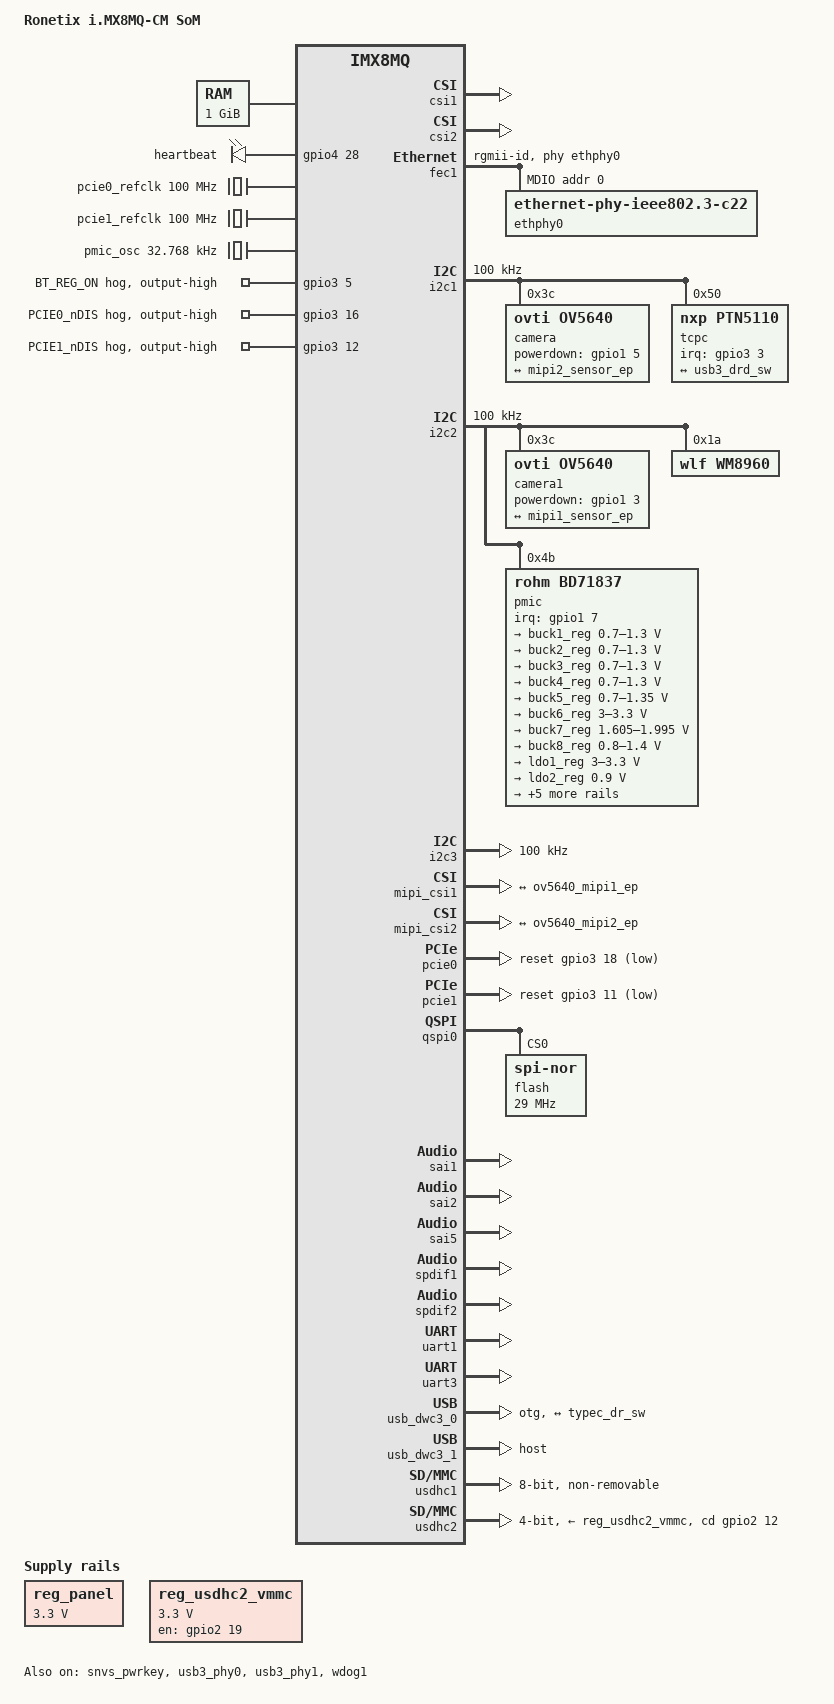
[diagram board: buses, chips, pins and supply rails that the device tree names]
// SPDX-License-Identifier: (GPL-2.0 OR MIT)
/*
 * Copyright 2017 NXP
 * Copyright (C) 2020-2026 Ronetix GmbH, Ilko Iliev <iliev@ronetix.at>
 *
 * Ronetix i.MX8MQ-CM SoM
 */

#include <dt-bindings/leds/common.h>
#include <dt-bindings/usb/pd.h>
#include "imx8mq.dtsi"

/ {
	model = "Ronetix i.MX8MQ-CM SoM";
	compatible = "ronetix,imx8mq-cm", "fsl,imx8mq";

	chosen {
		stdout-path = &uart1;
	};

	memory@40000000 {
		device_type = "memory";
		reg = <0x00000000 0x40000000 0 0x40000000>;	/* 1 GiB */
	};

	reserved-memory {
		#address-cells = <2>;
		#size-cells = <2>;
		ranges;

		/* global autoconfigured region for contiguous allocations */
		linux,cma {
			compatible = "shared-dma-pool";
			reusable;
			size = <0 0x04000000>;	/* 64 MiB */
			alloc-ranges = <0 0x40000000 0 0x40000000>;
			linux,cma-default;
		};
	};

	backlight: backlight {
		compatible = "pwm-backlight";
		pinctrl-names = "default";
		pinctrl-0 = <&pinctrl_backlight>;
		enable-gpios = <&gpio1 3 GPIO_ACTIVE_HIGH>;
		pwms = <&pwm1 0 2500000 0>;	/* 400 Hz */
		brightness-levels = <0 100>;
		num-interpolated-steps = <100>;
		default-brightness-level = <80>;
		status = "disabled";
	};

	leds {
		compatible = "gpio-leds";
		pinctrl-names = "default";
		pinctrl-0 = <&pinctrl_gpio_leds>;

		led-0 {
			label = "heartbeat";
			function = LED_FUNCTION_HEARTBEAT;
			gpios = <&gpio4 28 GPIO_ACTIVE_HIGH>;
			default-state = "on";
			linux,default-trigger = "heartbeat";
		};
	};

	/* LVDS panel behind the SN65DSI83 DSI to LVDS bridge */
	panel: panel {
		compatible = "innolux,g101ice-l01";
		backlight = <&backlight>;
		power-supply = <&reg_panel>;
		status = "disabled";

		port {
			panel_in: endpoint {
				remote-endpoint = <&lvds_bridge_out>;
			};
		};
	};

	pcie0_refclk: clock-pcie0-ref {
		compatible = "fixed-clock";
		#clock-cells = <0>;
		clock-frequency = <100000000>;
	};

	pcie1_refclk: clock-pcie1-ref {
		compatible = "fixed-clock";
		#clock-cells = <0>;
		clock-frequency = <100000000>;
	};

	pmic_osc: clock-pmic {
		compatible = "fixed-clock";
		#clock-cells = <0>;
		clock-frequency = <32768>;
		clock-output-names = "pmic_osc";
	};

	reg_panel: regulator-panel {
		compatible = "regulator-fixed";
		regulator-name = "PANEL_VDD";
		regulator-min-microvolt = <3300000>;
		regulator-max-microvolt = <3300000>;
	};

	reg_usdhc2_vmmc: regulator-vsd-3v3 {
		compatible = "regulator-fixed";
		pinctrl-names = "default";
		pinctrl-0 = <&pinctrl_reg_usdhc2>;
		regulator-name = "VSD_3V3";
		regulator-min-microvolt = <3300000>;
		regulator-max-microvolt = <3300000>;
		gpio = <&gpio2 19 GPIO_ACTIVE_HIGH>;
		off-on-delay-us = <20000>;
		enable-active-high;
	};

	sound-wm8960 {
		compatible = "fsl,imx-audio-wm8960";
		model = "wm8960-audio";
		audio-cpu = <&sai2>;
		audio-codec = <&wm8960>;
		audio-routing =
			"Headphone Jack", "HP_L",
			"Headphone Jack", "HP_R",
			"Ext Spk", "SPK_LP",
			"Ext Spk", "SPK_LN",
			"Ext Spk", "SPK_RP",
			"Ext Spk", "SPK_RN",
			"LINPUT1", "Mic Jack",
			"Mic Jack", "MICB";
	};
};

&A53_0 {
	cpu-supply = <&buck2_reg>;
};

&A53_1 {
	cpu-supply = <&buck2_reg>;
};

&A53_2 {
	cpu-supply = <&buck2_reg>;
};

&A53_3 {
	cpu-supply = <&buck2_reg>;
};

&csi1 {
	status = "okay";
};

&csi2 {
	status = "okay";
};

&fec1 {
	pinctrl-names = "default";
	pinctrl-0 = <&pinctrl_fec1>;
	phy-mode = "rgmii-id";
	phy-handle = <&ethphy0>;
	fsl,magic-packet;
	status = "okay";

	mdio {
		#address-cells = <1>;
		#size-cells = <0>;

		/* AR8031 */
		ethphy0: ethernet-phy@0 {
			compatible = "ethernet-phy-ieee802.3-c22";
			reg = <0>;
			qca,disable-smarteee;
			eee-broken-100tx;
			eee-broken-1000t;
		};
	};
};

&i2c1 {
	clock-frequency = <100000>;
	pinctrl-names = "default";
	pinctrl-0 = <&pinctrl_i2c1>;
	status = "okay";

	/* camera on MIPI-CSI2 */
	camera@3c {
		compatible = "ovti,ov5640";
		reg = <0x3c>;
		pinctrl-names = "default";
		pinctrl-0 = <&pinctrl_csi2_pwn>, <&pinctrl_csi_rst>;
		clocks = <&clk IMX8MQ_CLK_CLKO2>;
		clock-names = "xclk";
		assigned-clocks = <&clk IMX8MQ_CLK_CLKO2>;
		assigned-clock-parents = <&clk IMX8MQ_SYS2_PLL_200M>;
		assigned-clock-rates = <20000000>;
		powerdown-gpios = <&gpio1 5 GPIO_ACTIVE_HIGH>;

		port {
			ov5640_mipi2_ep: endpoint {
				remote-endpoint = <&mipi2_sensor_ep>;
				clock-lanes = <0>;
				data-lanes = <1 2>;
			};
		};
	};

	tcpc@50 {
		compatible = "nxp,ptn5110", "tcpci";
		reg = <0x50>;
		pinctrl-names = "default";
		pinctrl-0 = <&pinctrl_typec>;
		interrupt-parent = <&gpio3>;
		interrupts = <3 IRQ_TYPE_LEVEL_LOW>;

		connector {
			compatible = "usb-c-connector";
			label = "USB-C";
			power-role = "dual";
			data-role = "dual";
			try-power-role = "sink";
			source-pdos = <PDO_FIXED(5000, 3000, PDO_FIXED_USB_COMM)>;
			sink-pdos = <PDO_FIXED(5000, 3000, PDO_FIXED_USB_COMM)
				     PDO_VAR(5000, 20000, 3000)>;
			op-sink-microwatt = <15000000>;
			self-powered;

			port {
				typec_dr_sw: endpoint {
					remote-endpoint = <&usb3_drd_sw>;
				};
			};
		};
	};
};

&i2c2 {
	clock-frequency = <100000>;
	pinctrl-names = "default";
	pinctrl-0 = <&pinctrl_i2c2>;
	status = "okay";

	dsi_lvds_bridge: bridge@2c {
		compatible = "ti,sn65dsi83";
		reg = <0x2c>;
		pinctrl-names = "default";
		pinctrl-0 = <&pinctrl_lvds>;
		/* chip enable, not connected in PCB v2.0 */
		enable-gpios = <&gpio3 10 GPIO_ACTIVE_HIGH>;
		status = "disabled";

		ports {
			#address-cells = <1>;
			#size-cells = <0>;

			port@0 {
				reg = <0>;

				lvds_bridge_in: endpoint {
					data-lanes = <1 2>;
					remote-endpoint = <&mipi_dsi_out>;
				};
			};

			port@2 {
				reg = <2>;

				lvds_bridge_out: endpoint {
					remote-endpoint = <&panel_in>;
				};
			};
		};
	};

	/* camera on MIPI-CSI1 */
	camera1: camera@3c {
		compatible = "ovti,ov5640";
		reg = <0x3c>;
		pinctrl-names = "default";
		pinctrl-0 = <&pinctrl_csi1_pwn>;
		clocks = <&clk IMX8MQ_CLK_CLKO2>;
		clock-names = "xclk";
		assigned-clocks = <&clk IMX8MQ_CLK_CLKO2>;
		assigned-clock-parents = <&clk IMX8MQ_SYS2_PLL_200M>;
		assigned-clock-rates = <20000000>;
		powerdown-gpios = <&gpio1 3 GPIO_ACTIVE_HIGH>;

		port {
			ov5640_mipi1_ep: endpoint {
				remote-endpoint = <&mipi1_sensor_ep>;
				clock-lanes = <0>;
				data-lanes = <1 2>;
			};
		};
	};

	wm8960: audio-codec@1a {
		compatible = "wlf,wm8960";
		reg = <0x1a>;
		#sound-dai-cells = <0>;
		clocks = <&clk IMX8MQ_CLK_SAI2_ROOT>;
		clock-names = "mclk";
		wlf,shared-lrclk;
	};

	pmic@4b {
		compatible = "rohm,bd71837";
		reg = <0x4b>;
		pinctrl-names = "default";
		pinctrl-0 = <&pinctrl_pmic>;
		clocks = <&pmic_osc>;
		#clock-cells = <0>;
		clock-output-names = "pmic_clk";
		interrupt-parent = <&gpio1>;
		interrupts = <7 IRQ_TYPE_LEVEL_LOW>;
		rohm,reset-snvs-powered;
		rohm,short-press-ms = <500>;
		rohm,long-press-ms = <3000>;

		regulators {
			buck1_reg: BUCK1 {
				regulator-name = "buck1";
				regulator-min-microvolt = <700000>;
				regulator-max-microvolt = <1300000>;
				regulator-boot-on;
				regulator-always-on;
				regulator-ramp-delay = <1250>;
				rohm,dvs-run-voltage = <900000>;
				rohm,dvs-idle-voltage = <850000>;
				rohm,dvs-suspend-voltage = <800000>;
			};

			buck2_reg: BUCK2 {
				regulator-name = "buck2";
				regulator-min-microvolt = <700000>;
				regulator-max-microvolt = <1300000>;
				regulator-boot-on;
				regulator-always-on;
				regulator-ramp-delay = <1250>;
				rohm,dvs-run-voltage = <1000000>;
				rohm,dvs-idle-voltage = <900000>;
			};

			buck3_reg: BUCK3 {
				regulator-name = "buck3";
				regulator-min-microvolt = <700000>;
				regulator-max-microvolt = <1300000>;
				regulator-boot-on;
				regulator-always-on;
				rohm,dvs-run-voltage = <1000000>;
			};

			buck4_reg: BUCK4 {
				regulator-name = "buck4";
				regulator-min-microvolt = <700000>;
				regulator-max-microvolt = <1300000>;
				regulator-boot-on;
				regulator-always-on;
				rohm,dvs-run-voltage = <1000000>;
			};

			buck5_reg: BUCK5 {
				regulator-name = "buck5";
				regulator-min-microvolt = <700000>;
				regulator-max-microvolt = <1350000>;
				regulator-boot-on;
				regulator-always-on;
			};

			buck6_reg: BUCK6 {
				regulator-name = "buck6";
				regulator-min-microvolt = <3000000>;
				regulator-max-microvolt = <3300000>;
				regulator-boot-on;
				regulator-always-on;
			};

			buck7_reg: BUCK7 {
				regulator-name = "buck7";
				regulator-min-microvolt = <1605000>;
				regulator-max-microvolt = <1995000>;
				regulator-boot-on;
				regulator-always-on;
			};

			buck8_reg: BUCK8 {
				regulator-name = "buck8";
				regulator-min-microvolt = <800000>;
				regulator-max-microvolt = <1400000>;
				regulator-boot-on;
				regulator-always-on;
			};

			ldo1_reg: LDO1 {
				regulator-name = "ldo1";
				regulator-min-microvolt = <3000000>;
				regulator-max-microvolt = <3300000>;
				regulator-boot-on;
				regulator-always-on;
			};

			ldo2_reg: LDO2 {
				regulator-name = "ldo2";
				regulator-min-microvolt = <900000>;
				regulator-max-microvolt = <900000>;
				regulator-boot-on;
				regulator-always-on;
			};

			ldo3_reg: LDO3 {
				regulator-name = "ldo3";
				regulator-min-microvolt = <1800000>;
				regulator-max-microvolt = <3300000>;
				regulator-boot-on;
				regulator-always-on;
			};

			ldo4_reg: LDO4 {
				regulator-name = "ldo4";
				regulator-min-microvolt = <900000>;
				regulator-max-microvolt = <1800000>;
				regulator-boot-on;
				regulator-always-on;
			};

			ldo5_reg: LDO5 {
				regulator-name = "ldo5";
				regulator-min-microvolt = <1800000>;
				regulator-max-microvolt = <3300000>;
				regulator-boot-on;
				regulator-always-on;
			};

			ldo6_reg: LDO6 {
				regulator-name = "ldo6";
				regulator-min-microvolt = <900000>;
				regulator-max-microvolt = <1800000>;
				regulator-boot-on;
				regulator-always-on;
			};

			ldo7_reg: LDO7 {
				regulator-name = "ldo7";
				regulator-min-microvolt = <1800000>;
				regulator-max-microvolt = <3300000>;
				regulator-boot-on;
				regulator-always-on;
			};
		};
	};
};

&i2c3 {
	clock-frequency = <100000>;
	pinctrl-names = "default";
	pinctrl-0 = <&pinctrl_i2c3>;
	status = "okay";
};

&mipi_csi1 {
	status = "okay";

	ports {
		port@0 {
			reg = <0>;

			mipi1_sensor_ep: endpoint {
				remote-endpoint = <&ov5640_mipi1_ep>;
				data-lanes = <1 2>;
			};
		};
	};
};

&mipi_csi2 {
	status = "okay";

	ports {
		port@0 {
			reg = <0>;

			mipi2_sensor_ep: endpoint {
				remote-endpoint = <&ov5640_mipi2_ep>;
				data-lanes = <1 2>;
			};
		};
	};
};

&mipi_dsi_out {
	remote-endpoint = <&lvds_bridge_in>;
};

&pcie0 {
	pinctrl-names = "default";
	pinctrl-0 = <&pinctrl_pcie0>;
	reset-gpio = <&gpio3 18 GPIO_ACTIVE_LOW>;
	clocks = <&clk IMX8MQ_CLK_PCIE1_ROOT>,
		 <&pcie0_refclk>,
		 <&clk IMX8MQ_CLK_PCIE1_PHY>,
		 <&clk IMX8MQ_CLK_PCIE1_AUX>;
	status = "okay";
};

&pcie1 {
	pinctrl-names = "default";
	pinctrl-0 = <&pinctrl_pcie1>;
	reset-gpio = <&gpio3 11 GPIO_ACTIVE_LOW>;
	clocks = <&clk IMX8MQ_CLK_PCIE2_ROOT>,
		 <&pcie1_refclk>,
		 <&clk IMX8MQ_CLK_PCIE2_PHY>,
		 <&clk IMX8MQ_CLK_PCIE2_AUX>;
	status = "okay";
};

&pgc_gpu {
	power-supply = <&buck3_reg>;
};

&pgc_vpu {
	power-supply = <&buck4_reg>;
};

&pwm1 {
	pinctrl-names = "default";
	pinctrl-0 = <&pinctrl_pwm1>;
	status = "disabled";
};

&qspi0 {
	pinctrl-names = "default";
	pinctrl-0 = <&pinctrl_qspi>;
	status = "okay";

	flash@0 {
		compatible = "jedec,spi-nor";
		reg = <0>;
		#address-cells = <1>;
		#size-cells = <1>;
		spi-max-frequency = <29000000>;
		spi-tx-bus-width = <1>;
		spi-rx-bus-width = <1>;
	};
};

&sai1 {
	pinctrl-names = "default";
	pinctrl-0 = <&pinctrl_sai1_pcm>;
	assigned-clocks = <&clk IMX8MQ_CLK_SAI1>;
	assigned-clock-parents = <&clk IMX8MQ_AUDIO_PLL1_OUT>;
	assigned-clock-rates = <49152000>;
	status = "okay";
};

&sai2 {
	pinctrl-names = "default";
	pinctrl-0 = <&pinctrl_sai2>;
	assigned-clocks = <&clk IMX8MQ_CLK_SAI2>;
	assigned-clock-parents = <&clk IMX8MQ_AUDIO_PLL1_OUT>;
	assigned-clock-rates = <24576000>;
	status = "okay";
};

&sai5 {
	pinctrl-names = "default";
	pinctrl-0 = <&pinctrl_sai5>;
	assigned-clocks = <&clk IMX8MQ_CLK_SAI5>;
	assigned-clock-parents = <&clk IMX8MQ_AUDIO_PLL1_OUT>;
	assigned-clock-rates = <49152000>;
	fsl,sai-asynchronous;
	status = "okay";
};

&snvs_pwrkey {
	status = "okay";
};

&spdif1 {
	pinctrl-names = "default";
	pinctrl-0 = <&pinctrl_spdif1>;
	assigned-clocks = <&clk IMX8MQ_CLK_SPDIF1>;
	assigned-clock-parents = <&clk IMX8MQ_AUDIO_PLL1_OUT>;
	assigned-clock-rates = <24576000>;
	status = "okay";
};

&spdif2 {
	assigned-clocks = <&clk IMX8MQ_CLK_SPDIF2>;
	assigned-clock-parents = <&clk IMX8MQ_AUDIO_PLL1_OUT>;
	assigned-clock-rates = <24576000>;
	status = "okay";
};

&uart1 { /* console */
	pinctrl-names = "default";
	pinctrl-0 = <&pinctrl_uart1>;
	assigned-clocks = <&clk IMX8MQ_CLK_UART1>;
	assigned-clock-parents = <&clk IMX8MQ_CLK_25M>;
	status = "okay";
};

&uart3 { /* Bluetooth */
	pinctrl-names = "default";
	pinctrl-0 = <&pinctrl_uart3>;
	assigned-clocks = <&clk IMX8MQ_CLK_UART3>;
	assigned-clock-parents = <&clk IMX8MQ_SYS1_PLL_80M>;
	uart-has-rtscts;
	status = "okay";
};

&usb3_phy0 {
	status = "okay";
};

&usb_dwc3_0 {
	dr_mode = "otg";
	hnp-disable;
	srp-disable;
	adp-disable;
	usb-role-switch;
	snps,dis-u1-entry-quirk;
	snps,dis-u2-entry-quirk;
	status = "okay";

	port {
		usb3_drd_sw: endpoint {
			remote-endpoint = <&typec_dr_sw>;
		};
	};
};

&usb3_phy1 {
	status = "okay";
};

&usb_dwc3_1 {
	dr_mode = "host";
	status = "okay";
};

/* eMMC */
&usdhc1 {
	pinctrl-names = "default", "state_100mhz", "state_200mhz";
	pinctrl-0 = <&pinctrl_usdhc1>;
	pinctrl-1 = <&pinctrl_usdhc1_100mhz>;
	pinctrl-2 = <&pinctrl_usdhc1_200mhz>;
	vqmmc-supply = <&buck7_reg>;
	bus-width = <8>;
	non-removable;
	no-sd;
	no-sdio;
	status = "okay";
};

/* SD card */
&usdhc2 {
	pinctrl-names = "default", "state_100mhz", "state_200mhz";
	pinctrl-0 = <&pinctrl_usdhc2>;
	pinctrl-1 = <&pinctrl_usdhc2_100mhz>;
	pinctrl-2 = <&pinctrl_usdhc2_200mhz>;
	cd-gpios = <&gpio2 12 GPIO_ACTIVE_HIGH>;
	bus-width = <4>;
	vmmc-supply = <&reg_usdhc2_vmmc>;
	status = "okay";
};

&wdog1 {
	pinctrl-names = "default";
	pinctrl-0 = <&pinctrl_wdog>;
	fsl,ext-reset-output;
	status = "okay";
};

&gpio3 {
	bt-reg-on-hog {
		gpio-hog;
		gpios = <5 GPIO_ACTIVE_HIGH>;
		output-high;
		line-name = "BT_REG_ON";
	};

	pcie0-ndis-hog {
		gpio-hog;
		gpios = <16 GPIO_ACTIVE_HIGH>;
		output-high;
		line-name = "PCIE0_nDIS";
	};

	pcie1-ndis-hog {
		gpio-hog;
		gpios = <12 GPIO_ACTIVE_HIGH>;
		output-high;
		line-name = "PCIE1_nDIS";
	};
};

&iomuxc {
	pinctrl-names = "default";
	pinctrl-0 = <&pinctrl_hog>;

	pinctrl_hog: hoggrp {
		fsl,pins = <
			MX8MQ_IOMUXC_GPIO1_IO00_ANAMIX_REF_CLK_32K	0x16
			MX8MQ_IOMUXC_NAND_CLE_GPIO3_IO5			0x19
		>;
	};

	pinctrl_backlight: backlightgrp {
		fsl,pins = <
			MX8MQ_IOMUXC_GPIO1_IO03_GPIO1_IO3		0x16	/* LCD_BL_EN */
		>;
	};

	pinctrl_csi1_pwn: csi1pwngrp {
		fsl,pins = <
			MX8MQ_IOMUXC_GPIO1_IO03_GPIO1_IO3		0x19
		>;
	};

	pinctrl_csi2_pwn: csi2pwngrp {
		fsl,pins = <
			MX8MQ_IOMUXC_GPIO1_IO05_GPIO1_IO5		0x19
		>;
	};

	pinctrl_csi_rst: csirstgrp {
		fsl,pins = <
			MX8MQ_IOMUXC_GPIO1_IO06_GPIO1_IO6		0x19
			MX8MQ_IOMUXC_GPIO1_IO15_CCMSRCGPCMIX_CLKO2	0x59
		>;
	};

	pinctrl_fec1: fec1grp {
		fsl,pins = <
			MX8MQ_IOMUXC_ENET_MDC_ENET1_MDC			0x3
			MX8MQ_IOMUXC_ENET_MDIO_ENET1_MDIO		0x23
			MX8MQ_IOMUXC_ENET_TD3_ENET1_RGMII_TD3		0x1f
			MX8MQ_IOMUXC_ENET_TD2_ENET1_RGMII_TD2		0x1f
			MX8MQ_IOMUXC_ENET_TD1_ENET1_RGMII_TD1		0x1f
			MX8MQ_IOMUXC_ENET_TD0_ENET1_RGMII_TD0		0x1f
			MX8MQ_IOMUXC_ENET_RD3_ENET1_RGMII_RD3		0x91
			MX8MQ_IOMUXC_ENET_RD2_ENET1_RGMII_RD2		0x91
			MX8MQ_IOMUXC_ENET_RD1_ENET1_RGMII_RD1		0x91
			MX8MQ_IOMUXC_ENET_RD0_ENET1_RGMII_RD0		0x91
			MX8MQ_IOMUXC_ENET_TXC_ENET1_RGMII_TXC		0x1f
			MX8MQ_IOMUXC_ENET_RXC_ENET1_RGMII_RXC		0x91
			MX8MQ_IOMUXC_ENET_RX_CTL_ENET1_RGMII_RX_CTL	0x91
			MX8MQ_IOMUXC_ENET_TX_CTL_ENET1_RGMII_TX_CTL	0x1f
			MX8MQ_IOMUXC_GPIO1_IO09_GPIO1_IO9		0x19
		>;
	};

	pinctrl_gpio_leds: gpioledsgrp {
		fsl,pins = <
			MX8MQ_IOMUXC_SAI3_RXFS_GPIO4_IO28		0x00000021	/* heartbeat LED */
		>;
	};

	pinctrl_i2c1: i2c1grp {
		fsl,pins = <
			MX8MQ_IOMUXC_I2C1_SCL_I2C1_SCL			0x4000007f
			MX8MQ_IOMUXC_I2C1_SDA_I2C1_SDA			0x4000007f
		>;
	};

	pinctrl_i2c2: i2c2grp {
		fsl,pins = <
			MX8MQ_IOMUXC_I2C2_SCL_I2C2_SCL			0x40000067
			MX8MQ_IOMUXC_I2C2_SDA_I2C2_SDA			0x40000067
		>;
	};

	pinctrl_i2c3: i2c3grp {
		fsl,pins = <
			MX8MQ_IOMUXC_I2C3_SCL_I2C3_SCL			0x4000007f
			MX8MQ_IOMUXC_I2C3_SDA_I2C3_SDA			0x4000007f
		>;
	};

	pinctrl_lvds: lvdsgrp {
		fsl,pins = <
			/* SN65DSI83 - chip enable, not connected in PCB v2.0 */
			MX8MQ_IOMUXC_NAND_DATA04_GPIO3_IO10		0x16
		>;
	};

	pinctrl_pcie0: pcie0grp {
		fsl,pins = <
			MX8MQ_IOMUXC_I2C4_SCL_PCIE1_CLKREQ_B		0x76
			MX8MQ_IOMUXC_NAND_READY_B_GPIO3_IO16		0x16	/* WiFi nDISABLE */
			MX8MQ_IOMUXC_NAND_WP_B_GPIO3_IO18		0x16	/* WiFi nRST */
		>;
	};

	pinctrl_pcie1: pcie1grp {
		fsl,pins = <
			MX8MQ_IOMUXC_I2C4_SDA_PCIE2_CLKREQ_B		0x76	/* open drain, pull up */
			MX8MQ_IOMUXC_NAND_DATA05_GPIO3_IO11		0x16	/* PCIe1 nRST */
			MX8MQ_IOMUXC_NAND_DATA06_GPIO3_IO12		0x16	/* PCIe1 nDIS */
		>;
	};

	pinctrl_pmic: pmicgrp {
		fsl,pins = <
			MX8MQ_IOMUXC_GPIO1_IO07_GPIO1_IO7		0x80	/* PMIC intr */
		>;
	};

	pinctrl_pwm1: pwm1grp {
		fsl,pins = <
			MX8MQ_IOMUXC_GPIO1_IO01_PWM1_OUT		0x06
		>;
	};

	pinctrl_qspi: qspigrp {
		fsl,pins = <
			MX8MQ_IOMUXC_NAND_ALE_QSPI_A_SCLK		0x82
			MX8MQ_IOMUXC_NAND_CE0_B_QSPI_A_SS0_B		0x82
			MX8MQ_IOMUXC_NAND_DATA00_QSPI_A_DATA0		0x82
			MX8MQ_IOMUXC_NAND_DATA01_QSPI_A_DATA1		0x82
			MX8MQ_IOMUXC_NAND_DATA02_QSPI_A_DATA2		0x82
			MX8MQ_IOMUXC_NAND_DATA03_QSPI_A_DATA3		0x82
		>;
	};

	pinctrl_reg_usdhc2: regusdhc2grp {
		fsl,pins = <
			MX8MQ_IOMUXC_SD2_RESET_B_GPIO2_IO19		0x41
		>;
	};

	pinctrl_sai1_pcm: sai1pcmgrp {
		fsl,pins = <
			MX8MQ_IOMUXC_SAI1_MCLK_SAI1_MCLK		0xd6
			MX8MQ_IOMUXC_SAI1_TXFS_SAI1_TX_SYNC		0xd6
			MX8MQ_IOMUXC_SAI1_RXD7_SAI1_TX_SYNC		0xd6
			MX8MQ_IOMUXC_SAI1_TXC_SAI1_TX_BCLK		0xd6
			MX8MQ_IOMUXC_SAI1_TXD0_SAI1_TX_DATA0		0xd6
			MX8MQ_IOMUXC_SAI1_TXD1_SAI1_TX_DATA1		0xd6
			MX8MQ_IOMUXC_SAI1_TXD2_SAI1_TX_DATA2		0xd6
			MX8MQ_IOMUXC_SAI1_TXD3_SAI1_TX_DATA3		0xd6
			MX8MQ_IOMUXC_SAI1_TXD4_SAI1_TX_DATA4		0xd6
			MX8MQ_IOMUXC_SAI1_TXD5_SAI1_TX_DATA5		0xd6
			MX8MQ_IOMUXC_SAI1_TXD6_SAI1_TX_DATA6		0xd6
			MX8MQ_IOMUXC_SAI1_TXD7_SAI1_TX_DATA7		0xd6
		>;
	};

	pinctrl_sai2: sai2grp {
		fsl,pins = <
			/* WM8960 */
			MX8MQ_IOMUXC_SAI2_TXFS_SAI2_TX_SYNC		0xd6
			MX8MQ_IOMUXC_SAI2_TXC_SAI2_TX_BCLK		0xd6
			MX8MQ_IOMUXC_SAI2_MCLK_SAI2_MCLK		0xd6
			MX8MQ_IOMUXC_SAI2_TXD0_SAI2_TX_DATA0		0xd6
			MX8MQ_IOMUXC_SAI2_RXD0_SAI2_RX_DATA0		0xd6
		>;
	};

	pinctrl_sai5: sai5grp {
		fsl,pins = <
			MX8MQ_IOMUXC_SAI5_MCLK_SAI5_MCLK		0xd6
			MX8MQ_IOMUXC_SAI5_RXC_SAI5_RX_BCLK		0xd6
			MX8MQ_IOMUXC_SAI5_RXFS_SAI5_RX_SYNC		0xd6
			MX8MQ_IOMUXC_SAI5_RXD0_SAI5_RX_DATA0		0xd6
			MX8MQ_IOMUXC_SAI5_RXD1_SAI5_RX_DATA1		0xd6
			MX8MQ_IOMUXC_SAI5_RXD2_SAI5_RX_DATA2		0xd6
			MX8MQ_IOMUXC_SAI5_RXD3_SAI5_RX_DATA3		0xd6
		>;
	};

	pinctrl_spdif1: spdif1grp {
		fsl,pins = <
			MX8MQ_IOMUXC_SPDIF_TX_SPDIF1_OUT		0xd6
			MX8MQ_IOMUXC_SPDIF_RX_SPDIF1_IN			0xd6
		>;
	};

	pinctrl_typec: typecgrp {
		fsl,pins = <
			MX8MQ_IOMUXC_NAND_CE2_B_GPIO3_IO3		0x17059
		>;
	};

	pinctrl_uart1: uart1grp {
		fsl,pins = <
			MX8MQ_IOMUXC_UART1_RXD_UART1_DCE_RX		0x49
			MX8MQ_IOMUXC_UART1_TXD_UART1_DCE_TX		0x49
		>;
	};

	pinctrl_uart3: uart3grp {
		fsl,pins = <
			MX8MQ_IOMUXC_UART3_TXD_UART3_DCE_TX		0x49
			MX8MQ_IOMUXC_UART3_RXD_UART3_DCE_RX		0x49
			MX8MQ_IOMUXC_ECSPI1_MISO_UART3_DCE_CTS_B	0x49
			MX8MQ_IOMUXC_ECSPI1_SS0_UART3_DCE_RTS_B		0x49
		>;
	};

	pinctrl_usdhc1: usdhc1grp {
		fsl,pins = <
			MX8MQ_IOMUXC_SD1_CLK_USDHC1_CLK			0x83
			MX8MQ_IOMUXC_SD1_CMD_USDHC1_CMD			0xc3
			MX8MQ_IOMUXC_SD1_DATA0_USDHC1_DATA0		0xc3
			MX8MQ_IOMUXC_SD1_DATA1_USDHC1_DATA1		0xc3
			MX8MQ_IOMUXC_SD1_DATA2_USDHC1_DATA2		0xc3
			MX8MQ_IOMUXC_SD1_DATA3_USDHC1_DATA3		0xc3
			MX8MQ_IOMUXC_SD1_DATA4_USDHC1_DATA4		0xc3
			MX8MQ_IOMUXC_SD1_DATA5_USDHC1_DATA5		0xc3
			MX8MQ_IOMUXC_SD1_DATA6_USDHC1_DATA6		0xc3
			MX8MQ_IOMUXC_SD1_DATA7_USDHC1_DATA7		0xc3
			MX8MQ_IOMUXC_SD1_STROBE_USDHC1_STROBE		0x83
			MX8MQ_IOMUXC_SD1_RESET_B_USDHC1_RESET_B		0xc1
		>;
	};

	pinctrl_usdhc1_100mhz: usdhc1-100mhzgrp {
		fsl,pins = <
			MX8MQ_IOMUXC_SD1_CLK_USDHC1_CLK			0x8d
			MX8MQ_IOMUXC_SD1_CMD_USDHC1_CMD			0xcd
			MX8MQ_IOMUXC_SD1_DATA0_USDHC1_DATA0		0xcd
			MX8MQ_IOMUXC_SD1_DATA1_USDHC1_DATA1		0xcd
			MX8MQ_IOMUXC_SD1_DATA2_USDHC1_DATA2		0xcd
			MX8MQ_IOMUXC_SD1_DATA3_USDHC1_DATA3		0xcd
			MX8MQ_IOMUXC_SD1_DATA4_USDHC1_DATA4		0xcd
			MX8MQ_IOMUXC_SD1_DATA5_USDHC1_DATA5		0xcd
			MX8MQ_IOMUXC_SD1_DATA6_USDHC1_DATA6		0xcd
			MX8MQ_IOMUXC_SD1_DATA7_USDHC1_DATA7		0xcd
			MX8MQ_IOMUXC_SD1_STROBE_USDHC1_STROBE		0x8d
			MX8MQ_IOMUXC_SD1_RESET_B_USDHC1_RESET_B		0xc1
		>;
	};

	pinctrl_usdhc1_200mhz: usdhc1-200mhzgrp {
		fsl,pins = <
			MX8MQ_IOMUXC_SD1_CLK_USDHC1_CLK			0x9f
			MX8MQ_IOMUXC_SD1_CMD_USDHC1_CMD			0xdf
			MX8MQ_IOMUXC_SD1_DATA0_USDHC1_DATA0		0xdf
			MX8MQ_IOMUXC_SD1_DATA1_USDHC1_DATA1		0xdf
			MX8MQ_IOMUXC_SD1_DATA2_USDHC1_DATA2		0xdf
			MX8MQ_IOMUXC_SD1_DATA3_USDHC1_DATA3		0xdf
			MX8MQ_IOMUXC_SD1_DATA4_USDHC1_DATA4		0xdf
			MX8MQ_IOMUXC_SD1_DATA5_USDHC1_DATA5		0xdf
			MX8MQ_IOMUXC_SD1_DATA6_USDHC1_DATA6		0xdf
			MX8MQ_IOMUXC_SD1_DATA7_USDHC1_DATA7		0xdf
			MX8MQ_IOMUXC_SD1_STROBE_USDHC1_STROBE		0x9f
			MX8MQ_IOMUXC_SD1_RESET_B_USDHC1_RESET_B		0xc1
		>;
	};

	pinctrl_usdhc2: usdhc2grp {
		fsl,pins = <
			MX8MQ_IOMUXC_SD2_CLK_USDHC2_CLK			0x83
			MX8MQ_IOMUXC_SD2_CMD_USDHC2_CMD			0xc3
			MX8MQ_IOMUXC_SD2_DATA0_USDHC2_DATA0		0xc3
			MX8MQ_IOMUXC_SD2_DATA1_USDHC2_DATA1		0xc3
			MX8MQ_IOMUXC_SD2_DATA2_USDHC2_DATA2		0xc3
			MX8MQ_IOMUXC_SD2_DATA3_USDHC2_DATA3		0xc3
			MX8MQ_IOMUXC_GPIO1_IO04_USDHC2_VSELECT		0xc1
		>;
	};

	pinctrl_usdhc2_100mhz: usdhc2-100mhzgrp {
		fsl,pins = <
			MX8MQ_IOMUXC_SD2_CLK_USDHC2_CLK			0x85
			MX8MQ_IOMUXC_SD2_CMD_USDHC2_CMD			0xc5
			MX8MQ_IOMUXC_SD2_DATA0_USDHC2_DATA0		0xc5
			MX8MQ_IOMUXC_SD2_DATA1_USDHC2_DATA1		0xc5
			MX8MQ_IOMUXC_SD2_DATA2_USDHC2_DATA2		0xc5
			MX8MQ_IOMUXC_SD2_DATA3_USDHC2_DATA3		0xc5
			MX8MQ_IOMUXC_GPIO1_IO04_USDHC2_VSELECT		0xc1
		>;
	};

	pinctrl_usdhc2_200mhz: usdhc2-200mhzgrp {
		fsl,pins = <
			MX8MQ_IOMUXC_SD2_CLK_USDHC2_CLK			0x87
			MX8MQ_IOMUXC_SD2_CMD_USDHC2_CMD			0xc7
			MX8MQ_IOMUXC_SD2_DATA0_USDHC2_DATA0		0xc7
			MX8MQ_IOMUXC_SD2_DATA1_USDHC2_DATA1		0xc7
			MX8MQ_IOMUXC_SD2_DATA2_USDHC2_DATA2		0xc7
			MX8MQ_IOMUXC_SD2_DATA3_USDHC2_DATA3		0xc7
			MX8MQ_IOMUXC_GPIO1_IO04_USDHC2_VSELECT		0xc1
		>;
	};

	pinctrl_wdog: wdoggrp {
		fsl,pins = <
			MX8MQ_IOMUXC_GPIO1_IO02_WDOG1_WDOG_B		0xc6
		>;
	};
};
